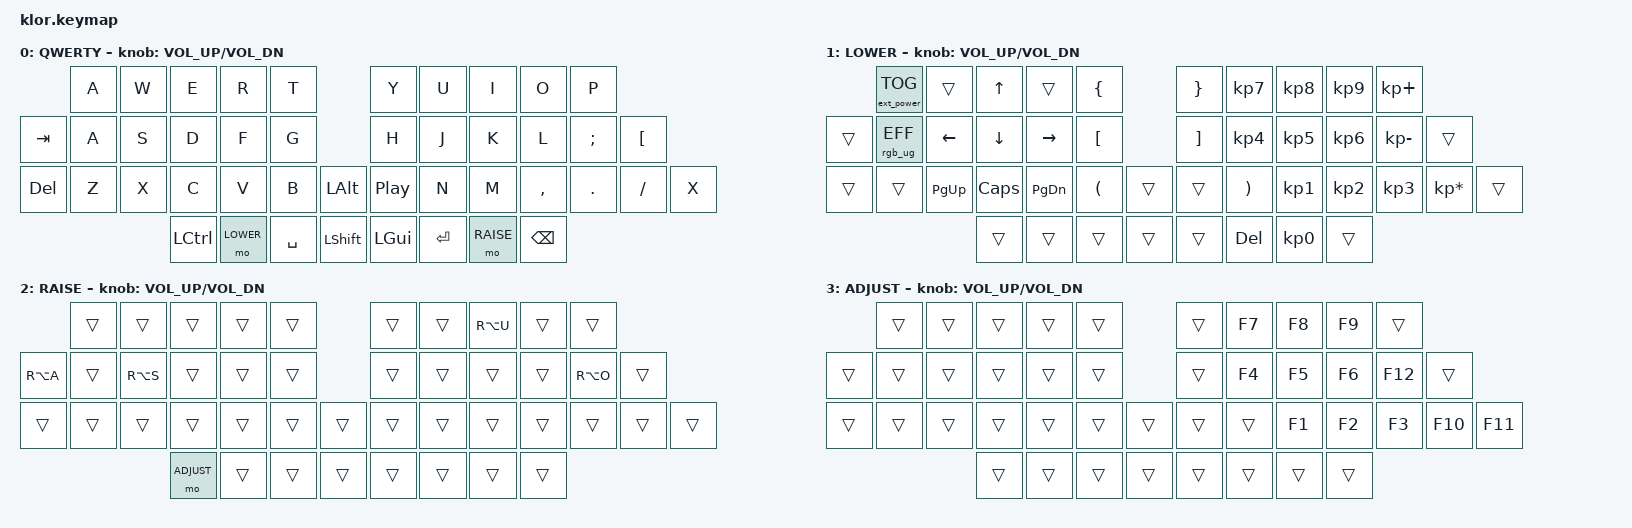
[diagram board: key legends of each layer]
//                               █         █    █            ▄▄▄▀▀▀▀▀▀▄▄▄        █▀▀▀▀▀▀▀▀▀▀█
//                               █        █     █          ▄▀            ▀▄      █          █
//                               █       █      █        ▄▀                ▀▄    █          █
//                               █      █       █        █                  █    █          █
//                               █     █        █       █                    █   █          █
//                               █    █         █       █                    █   █▄▄▄▄▄▄▄▄▄▄█
//                               █   █ █        █       █                    █   █      █
//                               █  █   █       █        █                  █    █       █
//                               █ █     █      █        ▀▄                ▄▀    █        █
//                               ██       █     █          ▀▄            ▄▀      █         █
//                               █         █    █▄▄▄▄▄▄▄▄    ▀▀▀▄▄▄▄▄▄▀▀▀        █          █
//
// ▄▄▄▄▄▄▄▄▄▄▄▄▄▄▄▄▄▄▄▄▄▄▄▄▄▄▄▄▄▄▄▄▄▄▄▄▄▄▄▄▄▄▄▄▄▄▄▄▄▄▄▄▄▄▄▄▄▄▄▄▄▄▄▄▄▄▄▄▄▄▄▄▄▄▄▄▄▄▄▄▄▄▄▄▄▄▄▄▄▄▄▄▄▄▄▄▄▄▄▄▄▄▄▄▄▄▄▄▄▄▄▄▄▄▄▄▄▄▄▄▄▄▄▄▄
       
#include <behaviors.dtsi>
#include <dt-bindings/zmk/keys.h>
#include <dt-bindings/zmk/bt.h>
#include <dt-bindings/zmk/outputs.h>
#include <dt-bindings/zmk/ext_power.h>
#include <dt-bindings/zmk/rgb.h>


#define BASE   0
#define LOWER  1
#define RAISE  2
#define ADJUST 3


/ {
    behaviors {
        hm: homerow_mods {
            compatible = "zmk,behavior-hold-tap";
            label = "HOMEROW_MODS";
            #binding-cells = <2>;
            tapping-term-ms = <150>;
            quick_tap_ms = <0>;
            flavor = "tap-preferred";
            bindings = <&kp>, <&kp>;
        };

    };

     combos {
            compatible = "zmk,combos";
            combo_esc {
                timeout-ms = <50>;
                key-positions = <0 1>;
                bindings = <&kp ESC>;
            };
    };



        keymap {
                compatible = "zmk,keymap";
// ▄▄▄▄▄▄▄▄▄▄▄▄▄▄▄▄▄▄▄▄▄▄▄▄▄▄▄▄▄▄▄▄▄▄▄▄▄▄▄▄▄▄▄▄▄▄▄▄▄▄▄▄▄▄▄▄▄▄▄▄▄▄▄▄▄▄▄▄▄▄▄▄▄▄▄▄▄▄▄▄▄▄▄▄▄▄▄▄▄▄▄▄▄▄▄▄▄▄▄▄▄▄▄▄▄▄▄▄▄▄▄▄▄▄▄▄▄▄▄▄▄▄▄▄▄▄▄▄▄▄▄▄▄▄▄▄▄▄▄▄▄▄▄


                base_layer {
// ┌───────────────────────────────────────────────────────────┐
label = "QWERTY";
// └───────────────────────────────────────────────────────────┘
/*           ┌─────────┬─────────┬─────────┬─────────┬─────────┐                    ┌─────────┬─────────┬─────────┬─────────┬─────────┐
             │    Q    │    W    │    E    │    R    │    T    │                    │    Y    │    U    │    I    │    O    │    P    │   
   ┌─────────┼─────────┼─────────┼─────────┼─────────┼─────────┤                    ├─────────┼─────────┼─────────┼─────────┼─────────┼─────────┐
   │   TAB   │    A    │    S    │    D    │    F    │    G    │                    │    H    │    J    │    K    │    L    │    ;    │    [    │
   ├─────────┼─────────┼─────────┼─────────┼─────────┼─────────┤╭────────╮╭────────╮├─────────┼─────────┼─────────┼─────────┼─────────┼─────────┤
   │   DEL   │    Z    │    X    │    C    │    V    │    B    ││  LALT  ││PLY/PSE ││    N    │    M    │    ,    │    .    │    /    │    '    │
   └─────────┴─────────┴─────────┼─────────┼─────────┼─────────┼╰────────╯╰────────╯┼─────────┼─────────┼─────────┼─────────┴─────────┴─────────┘
                                 │  LCTRL  │  LOWER  │  SPACE  │  LSHIFT ││  LGUI   │  ENTER  │  RAISE  │  BSPACE │  
                                 └─────────┴─────────┴─────────┴─────────┘└─────────┴─────────┴─────────┴─────────┘ */ 
 bindings = <
 //╷         ╷         ╷         ╷         ╷         ╷         ╷         ╷╷         ╷         ╷         ╷         ╷         ╷         ╷         ╷
              &kp A     &kp W     &kp E     &kp R     &kp T                          &kp Y     &kp U     &kp I     &kp O     &kp P
    &kp TAB   &kp A     &kp S     &kp D     &kp F     &kp G                          &kp H     &kp J     &kp K     &kp L     &kp SEMI  &kp LBKT
    &kp DEL   &kp Z     &kp X     &kp C     &kp V     &kp B     &kp LALT   &kp C_PLAY_PAUSE    &kp N     &kp M     &kp COMMA &kp DOT   &kp FSLH  &kp X
                                  &kp LCTRL &mo LOWER &kp SPACE &kp LSHFT  &kp LGUI  &kp RET   &mo RAISE &kp BSPC    
                        >;
            sensor-bindings = <&inc_dec_kp C_VOL_UP C_VOL_DN>;
                };

// ▄▄▄▄▄▄▄▄▄▄▄▄▄▄▄▄▄▄▄▄▄▄▄▄▄▄▄▄▄▄▄▄▄▄▄▄▄▄▄▄▄▄▄▄▄▄▄▄▄▄▄▄▄▄▄▄▄▄▄▄▄▄▄▄▄▄▄▄▄▄▄▄▄▄▄▄▄▄▄▄▄▄▄▄▄▄▄▄▄▄▄▄▄▄▄▄▄▄▄▄▄▄▄▄▄▄▄▄▄▄▄▄▄▄▄▄▄▄▄▄▄▄▄▄▄▄▄▄▄▄▄▄▄▄▄▄▄▄▄▄▄▄▄


                lower_layer {
// ┌───────────────────────────────────────────────────────────┐
label= "LOWER"                                                 ;
// └───────────────────────────────────────────────────────────┘
/*           ┌─────────┬─────────┬─────────┬─────────┬─────────┐                    ┌─────────┬─────────┬─────────┬─────────┬─────────┐
             │         │         │    UP   │         │    {    │                    │    }    │    7    │    8    │    9    │    +    │
   ┌─────────┼─────────┼─────────┼─────────┼─────────┼─────────┤                    ├─────────┼─────────┼─────────┼─────────┼─────────┼─────────┐
   │         │         │   LEFT  │  DOWN   │  RIGHT  │    [    │                    │    ]    │    4    │    5    │    6    │    -    │         │
   ├─────────┼─────────┼─────────┼─────────┼─────────┼─────────┤╭────────╮╭────────╮├─────────┼─────────┼─────────┼─────────┼─────────┼─────────┤
   │         │         │   P UP  │ C LOCK  │ P DOWN  │    (    ││        ││        ││    )    │    1    │    2    │    3    │    *    │         │
   └─────────┴─────────┴─────────┼─────────┼─────────┼─────────┼╰────────╯╰────────╯┼─────────┼─────────┼─────────┼─────────┴─────────┴─────────┘
                                 │         │         │         │         ││         │         │    0    │         │  
                                 └─────────┴─────────┴─────────┴─────────┘└─────────┴─────────┴─────────┴─────────┘ */ 
 bindings = <
 //╷         ╷         ╷         ╷         ╷         ╷         ╷         ╷╷         ╷         ╷         ╷         ╷         ╷         ╷         ╷
    &ext_power EP_TOG   &trans    &kp UP    &trans    &kp LBRC                       &kp RBRC  &kp KP_N7 &kp KP_N8 &kp KP_N9 &kp KP_PLUS
    &trans  &rgb_ug RGB_EFF    &kp LEFT  &kp DOWN  &kp RIGHT &kp LBKT                       &kp RBKT  &kp KP_N4 &kp KP_N5 &kp KP_N6 &kp KP_MINUS &trans
    &trans    &trans    &kp PG_UP &kp CAPS  &kp PG_DN &kp LPAR  &trans     &trans    &kp RPAR  &kp KP_N1 &kp KP_N2 &kp KP_N3 &kp KP_MULTIPLY &trans
                                  &trans    &trans    &trans    &trans     &trans    &kp DELETE &kp KP_N0 &trans  
                        >;
            sensor-bindings = <&inc_dec_kp C_VOL_UP C_VOL_DN>;
                };

// ▄▄▄▄▄▄▄▄▄▄▄▄▄▄▄▄▄▄▄▄▄▄▄▄▄▄▄▄▄▄▄▄▄▄▄▄▄▄▄▄▄▄▄▄▄▄▄▄▄▄▄▄▄▄▄▄▄▄▄▄▄▄▄▄▄▄▄▄▄▄▄▄▄▄▄▄▄▄▄▄▄▄▄▄▄▄▄▄▄▄▄▄▄▄▄▄▄▄▄▄▄▄▄▄▄▄▄▄▄▄▄▄▄▄▄▄▄▄▄▄▄▄▄▄▄


                raise_layer {
// ┌───────────────────────────────────────────────────────────┐
label= "RAISE"                                                 ;
// └───────────────────────────────────────────────────────────┘
/*           ┌─────────┬─────────┬─────────┬─────────┬─────────┐                    ┌─────────┬─────────┬─────────┬─────────┬─────────┐
             │         │         │         │         │         │                    │         │         │    Ü    │         │         │
   ┌─────────┼─────────┼─────────┼─────────┼─────────┼─────────┤                    ├─────────┼─────────┼─────────┼─────────┼─────────┼─────────┐
   │    Ä    │         │    ß    │         │         │         │                    │         │         │         │         │    Ö    │         │
   ├─────────┼─────────┼─────────┼─────────┼─────────┼─────────┤╭────────╮╭────────╮├─────────┼─────────┼─────────┼─────────┼─────────┼─────────┤
   │         │         │         │         │         │         ││        ││        ││         │         │         │         │         │         │
   └─────────┴─────────┴─────────┼─────────┼─────────┼─────────┼╰────────╯╰────────╯┼─────────┼─────────┼─────────┼─────────┴─────────┴─────────┘
                                 │ ADJUST  │         │         │         ││         │         │         │         │  
                                 └─────────┴─────────┴─────────┴─────────┘└─────────┴─────────┴─────────┴─────────┘ */ 
 bindings = <
 //╷         ╷         ╷         ╷         ╷         ╷         ╷         ╷╷         ╷         ╷         ╷         ╷         ╷         ╷         ╷
              &trans    &trans    &trans    &trans    &trans                         &trans    &trans    &kp RA(U) &trans    &trans     
    &kp RA(A) &trans    &kp RA(S) &trans    &trans    &trans                         &trans    &trans    &trans    &trans    &kp RA(O) &trans  
    &trans    &trans    &trans    &trans    &trans    &trans    &trans     &trans    &trans    &trans    &trans    &trans    &trans    &trans
                                  &mo ADJUST &trans   &trans    &trans     &trans    &trans    &trans    &trans  
                        >;
                sensor-bindings = <&inc_dec_kp C_VOL_UP C_VOL_DN>;
                };

// ▄▄▄▄▄▄▄▄▄▄▄▄▄▄▄▄▄▄▄▄▄▄▄▄▄▄▄▄▄▄▄▄▄▄▄▄▄▄▄▄▄▄▄▄▄▄▄▄▄▄▄▄▄▄▄▄▄▄▄▄▄▄▄▄▄▄▄▄▄▄▄▄▄▄▄▄▄▄▄▄▄▄▄▄▄▄▄▄▄▄▄▄▄▄▄▄▄▄▄▄▄▄▄▄▄▄▄▄▄▄▄▄▄▄▄▄▄▄▄▄▄▄▄▄▄


                adjust_layer {
// ┌───────────────────────────────────────────────────────────┐
label= "ADJUST"                                                ;
// └───────────────────────────────────────────────────────────┘
/*           ┌─────────┬─────────┬─────────┬─────────┬─────────┐                    ┌─────────┬─────────┬─────────┬─────────┬─────────┐
             │  TRNS   │  TRNS   │  TRNS   │  TRNS   │  TRNS   │                    │  TRNS   │   F7    │   F8    │   F9    │  TRNS   │   
   ┌─────────┼─────────┼─────────┼─────────┼─────────┼─────────┤                    ├─────────┼─────────┼─────────┼─────────┼─────────┼─────────┐
   │  TRNS   │  TRNS   │  TRNS   │  TRNS   │  TRNS   │  TRNS   │                    │  TRNS   │   F4    │   F5    │   F6    │   F12   │  TRNS   │
   ├─────────┼─────────┼─────────┼─────────┼─────────┼─────────┤╭────────╮╭────────╮├─────────┼─────────┼─────────┼─────────┼─────────┼─────────┤
   │  TRNS   │  TRNS   │  TRNS   │  TRNS   │  TRNS   │  TRNS   ││  TRNS  ││  TRNS  ││  TRNS   │   F1    │   F2    │   F3    │   F10   │   F11   │
   └─────────┴─────────┴─────────┼─────────┼─────────┼─────────┼╰────────╯╰────────╯┼─────────┼─────────┼─────────┼─────────┴─────────┴─────────┘
                                 │  TRNS   │  TRNS   │  TRNS   │  TRNS   ││  TRNS   │  TRNS   │  TRNS   │  TRNS   │  
                                 └─────────┴─────────┴─────────┴─────────┘└─────────┴─────────┴─────────┴─────────┘ */ 
 bindings = <
 //╷         ╷         ╷         ╷         ╷         ╷         ╷         ╷╷         ╷         ╷         ╷         ╷         ╷         ╷         ╷
    &trans    &trans    &trans    &trans    &trans                       &trans    &kp F7    &kp F8    &kp F9    &trans   
    &trans    &trans    &trans    &trans    &trans    &trans                       &trans    &kp F4    &kp F5    &kp F6    &kp F12   &trans 
    &trans    &trans    &trans    &trans    &trans    &trans    &trans     &trans    &trans    &kp F1    &kp F2    &kp F3    &kp F10   &kp F11    
                                  &trans    &trans    &trans    &trans     &trans    &trans    &trans    &trans    
                        >;
            sensor-bindings = <&inc_dec_kp C_VOL_UP C_VOL_DN>;
                };
        };
};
